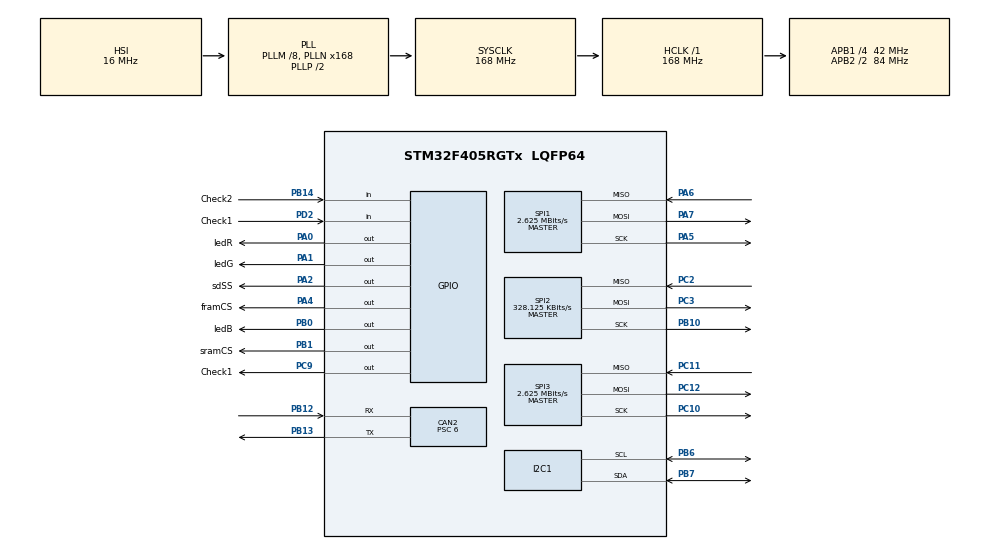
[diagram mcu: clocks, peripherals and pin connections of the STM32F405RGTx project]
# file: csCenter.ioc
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CAN2.BS1=CAN_BS1_11TQ
CAN2.BS2=CAN_BS2_2TQ
CAN2.CalculateBaudRate=500000
CAN2.CalculateTimeBit=2000
CAN2.CalculateTimeQuantum=142.85714285714286
CAN2.Prescaler=6
Mcu.Family=STM32F4
Mcu.Name=STM32F405RGTx
Mcu.Package=LQFP64
NVIC.CAN2_RX0_IRQn=true\:0\:0\:false\:false\:true\:true\:true\:true
NVIC.PriorityGroup=NVIC_PRIORITYGROUP_4
PA0-WKUP.GPIO_Label=ledR
PA0-WKUP.Signal=GPIO_Output
PA1.GPIO_Label=ledG
PA1.Signal=GPIO_Output
PA13.Mode=Serial_Wire
PA13.Signal=SYS_JTMS-SWDIO
PA14.Mode=Serial_Wire
PA14.Signal=SYS_JTCK-SWCLK
PA2.GPIO_Label=sdSS
PA2.Signal=GPIO_Output
PA4.GPIO_Label=framCS
PA4.Signal=GPIO_Output
PA5.Mode=Full_Duplex_Master
PA5.Signal=SPI1_SCK
PA6.Mode=Full_Duplex_Master
PA6.Signal=SPI1_MISO
PA7.Mode=Full_Duplex_Master
PA7.Signal=SPI1_MOSI
PB0.GPIO_Label=ledB
PB0.Signal=GPIO_Output
PB1.GPIO_Label=sramCS
PB1.Signal=GPIO_Output
PB10.GPIO_PuPd=GPIO_PULLUP
PB10.Mode=Full_Duplex_Master
PB10.Signal=SPI2_SCK
PB12.Mode=CAN_Activate
PB12.Signal=CAN2_RX
PB13.Mode=CAN_Activate
PB13.Signal=CAN2_TX
PB14.GPIO_Label=Check2
PB14.Signal=GPIO_Input
PB6.Mode=I2C
PB6.Signal=I2C1_SCL
PB7.Mode=I2C
PB7.Signal=I2C1_SDA
PC10.Mode=Full_Duplex_Master
PC10.Signal=SPI3_SCK
PC11.Mode=Full_Duplex_Master
PC11.Signal=SPI3_MISO
PC12.Mode=Full_Duplex_Master
PC12.Signal=SPI3_MOSI
PC2.GPIO_PuPd=GPIO_PULLUP
PC2.Mode=Full_Duplex_Master
PC2.Signal=SPI2_MISO
PC3.GPIO_PuPd=GPIO_PULLUP
PC3.Mode=Full_Duplex_Master
PC3.Signal=SPI2_MOSI
PC9.GPIO_Label=Check1
PC9.Signal=GPIO_Output
PD2.GPIO_Label=Check1
PD2.Signal=GPIO_Input
PH0-OSC_IN.Mode=HSE-External-Oscillator
PH0-OSC_IN.Signal=RCC_OSC_IN
PH1-OSC_OUT.Mode=HSE-External-Oscillator
PH1-OSC_OUT.Signal=RCC_OSC_OUT
ProjectManager.HeapSize=0x200
ProjectManager.StackSize=0x400
ProjectManager.TargetToolchain=STM32CubeIDE
RCC.48MHZClocksFreq_Value=84000000
RCC.AHBFreq_Value=168000000
RCC.APB1CLKDivider=RCC_HCLK_DIV4
RCC.APB1Freq_Value=42000000
RCC.APB1TimFreq_Value=84000000
RCC.APB2CLKDivider=RCC_HCLK_DIV2
RCC.APB2Freq_Value=84000000
RCC.APB2TimFreq_Value=168000000
RCC.CortexFreq_Value=168000000
RCC.HCLKFreq_Value=168000000
RCC.HSE_VALUE=8000000
RCC.HSI_VALUE=16000000
RCC.LSE_VALUE=32768
RCC.PLLM=8
RCC.PLLN=168
RCC.SYSCLKFreq_VALUE=168000000
RCC.SYSCLKSource=RCC_SYSCLKSOURCE_PLLCLK
RCC.VCOOutputFreq_Value=336000000
RTC.Format=RTC_FORMAT_BIN
SPI1.BaudRatePrescaler=SPI_BAUDRATEPRESCALER_32
SPI1.CalculateBaudRate=2.625 MBits/s
SPI1.Direction=SPI_DIRECTION_2LINES
SPI1.Mode=SPI_MODE_MASTER
SPI1.VirtualType=VM_MASTER
SPI2.BaudRatePrescaler=SPI_BAUDRATEPRESCALER_128
SPI2.CalculateBaudRate=328.125 KBits/s
SPI2.Direction=SPI_DIRECTION_2LINES
SPI2.Mode=SPI_MODE_MASTER
SPI2.VirtualType=VM_MASTER
SPI3.BaudRatePrescaler=SPI_BAUDRATEPRESCALER_16
SPI3.CalculateBaudRate=2.625 MBits/s
SPI3.Direction=SPI_DIRECTION_2LINES
SPI3.Mode=SPI_MODE_MASTER
SPI3.VirtualType=VM_MASTER
VP_FATFS_VS_Generic.Mode=User_defined
VP_RTC_VS_RTC_Activate.Mode=RTC_Enabled
VP_RTC_VS_RTC_Calendar.Mode=RTC_Calendar
board=custom

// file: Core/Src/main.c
/* USER CODE BEGIN Header */
/**
  ******************************************************************************
  * @file           : main.c
  * @brief          : Main program body
  ******************************************************************************
  * @attention
  *
  * Copyright (c) 2026 STMicroelectronics.
  * All rights reserved.
  *
  * This software is licensed under terms that can be found in the LICENSE file
  * in the root directory of this software component.
  * If no LICENSE file comes with this software, it is provided AS-IS.
  *
  ******************************************************************************
  */
/* USER CODE END Header */
#include "main.h"
#include "fatfs.h"

/* USER CODE BEGIN Includes */
#include <string.h>
#include <stdio.h>
#include "w25q32.h"
#include "INA219.h"
#include "sdCard.h"
/* USER CODE END Includes */

/* USER CODE BEGIN PD */
INA219_t ina219;
/* USER CODE END PD */

CAN_HandleTypeDef hcan2;

I2C_HandleTypeDef hi2c1;

RTC_HandleTypeDef hrtc;

SPI_HandleTypeDef hspi1;
SPI_HandleTypeDef hspi2;
SPI_HandleTypeDef hspi3;

/* USER CODE BEGIN PV */
//////////////////Sensor Variables////////////////////
SensorData sensorData;

float pitch, roll, yaw, altitude, pressure, temperature,
	  accX, accY, accZ, latitude, longitude, satelliteCount;
uint8_t rtcHour = 0;
uint8_t rtcMinute = 0;
uint8_t rtcSecond = 0;
uint16_t rtcMs = 0;
volatile float gpsAltitude = 0;

//////////////////CAN Variables////////////////////
volatile float busVoltageFloat = 0;
volatile float currentFloat = 0;

CAN_TxHeaderTypeDef TxHeader;
CAN_RxHeaderTypeDef RxHeader;

uint32_t TxMailbox;

uint8_t TxData[8];
uint8_t RxData[8];

HAL_StatusTypeDef status;

volatile float receivedValue1 = 0;
volatile float receivedValue2 = 0;

/////////////INA219 PV/////////////
uint8_t inaOK = 0;
uint16_t busVoltage;
int16_t current;
/* USER CODE END PV */

void SystemClock_Config(void);
static void MX_GPIO_Init(void);
static void MX_CAN2_Init(void);
static void MX_I2C1_Init(void);
static void MX_RTC_Init(void);
static void MX_SPI1_Init(void);
static void MX_SPI2_Init(void);
static void MX_SPI3_Init(void);
/* USER CODE BEGIN PFP */
void CAN_Filter_Config(void);
void CAN_Send_TwoFloat(float a, float b);
void CAN_Send_Datas(void);
/* USER CODE END PFP */

int main(void)
{

  /* MCU Configuration--------------------------------------------------------*/

  /* Reset of all peripherals, Initializes the Flash interface and the Systick. */
  HAL_Init();

  /* Configure the system clock */
  SystemClock_Config();

  /* Initialize all configured peripherals */
  MX_GPIO_Init();
  MX_CAN2_Init();
  MX_I2C1_Init();
  MX_RTC_Init();
  MX_SPI1_Init();
  MX_SPI2_Init();
  MX_SPI3_Init();
  MX_FATFS_Init();
  /* USER CODE BEGIN 2 */
  ////////////////////////INA219 Init//////////////////////////
  if (INA219_Init(&ina219, &hi2c1, INA219_ADDRESS))
  {
      inaOK = 1;
  } else inaOK = 2;

  INA219_setCalibration_32V_1A(&ina219);

  /////////////////////////CAN Init////////////////////////////
  CAN_Filter_Config();
  HAL_CAN_Start(&hcan2);
  HAL_CAN_ActivateNotification(&hcan2, CAN_IT_RX_FIFO0_MSG_PENDING);

  /////////////////////////Flash Init///////////////////////////
  uint8_t W25Q_Init(void);

  ////////////////////////SD Card Init//////////////////////////
  sdCardOpen();
  /* USER CODE END 2 */

  /* Infinite loop */
  /* USER CODE BEGIN WHILE */
  while (1)
  {
	  busVoltage = INA219_ReadBusVoltage(&ina219);
	  current = INA219_ReadCurrent(&ina219);
	  HAL_Delay(50);
	  CAN_Send_Datas();
	  HAL_Delay(50);
	  W25Q_WritePage(0x000000,(uint8_t*)&sensorData,sizeof(sensorData));
	  HAL_Delay(50);
	  sdCardWrite();
	  HAL_Delay(50);
    /* USER CODE END WHILE */

  }
}

void SystemClock_Config(void)
{
  RCC_OscInitTypeDef RCC_OscInitStruct = {0};
  RCC_ClkInitTypeDef RCC_ClkInitStruct = {0};

  /** Configure the main internal regulator output voltage
  */
  __HAL_RCC_PWR_CLK_ENABLE();
  __HAL_PWR_VOLTAGESCALING_CONFIG(PWR_REGULATOR_VOLTAGE_SCALE1);

  /** Initializes the RCC Oscillators according to the specified parameters
  * in the RCC_OscInitTypeDef structure.
  */
  RCC_OscInitStruct.OscillatorType = RCC_OSCILLATORTYPE_HSI|RCC_OSCILLATORTYPE_LSI;
  RCC_OscInitStruct.HSIState = RCC_HSI_ON;
  RCC_OscInitStruct.HSICalibrationValue = RCC_HSICALIBRATION_DEFAULT;
  RCC_OscInitStruct.LSIState = RCC_LSI_ON;
  RCC_OscInitStruct.PLL.PLLState = RCC_PLL_ON;
  RCC_OscInitStruct.PLL.PLLSource = RCC_PLLSOURCE_HSI;
  RCC_OscInitStruct.PLL.PLLM = 8;
  RCC_OscInitStruct.PLL.PLLN = 168;
  RCC_OscInitStruct.PLL.PLLP = RCC_PLLP_DIV2;
  RCC_OscInitStruct.PLL.PLLQ = 4;
  if (HAL_RCC_OscConfig(&RCC_OscInitStruct) != HAL_OK)
  {
    Error_Handler();
  }

  /** Initializes the CPU, AHB and APB buses clocks
  */
  RCC_ClkInitStruct.ClockType = RCC_CLOCKTYPE_HCLK|RCC_CLOCKTYPE_SYSCLK
                              |RCC_CLOCKTYPE_PCLK1|RCC_CLOCKTYPE_PCLK2;
  RCC_ClkInitStruct.SYSCLKSource = RCC_SYSCLKSOURCE_PLLCLK;
  RCC_ClkInitStruct.AHBCLKDivider = RCC_SYSCLK_DIV1;
  RCC_ClkInitStruct.APB1CLKDivider = RCC_HCLK_DIV4;
  RCC_ClkInitStruct.APB2CLKDivider = RCC_HCLK_DIV2;

  if (HAL_RCC_ClockConfig(&RCC_ClkInitStruct, FLASH_LATENCY_5) != HAL_OK)
  {
    Error_Handler();
  }
}

static void MX_CAN2_Init(void)
{

  hcan2.Instance = CAN2;
  hcan2.Init.Prescaler = 6;
  hcan2.Init.Mode = CAN_MODE_NORMAL;
  hcan2.Init.SyncJumpWidth = CAN_SJW_1TQ;
  hcan2.Init.TimeSeg1 = CAN_BS1_11TQ;
  hcan2.Init.TimeSeg2 = CAN_BS2_2TQ;
  hcan2.Init.TimeTriggeredMode = DISABLE;
  hcan2.Init.AutoBusOff = DISABLE;
  hcan2.Init.AutoWakeUp = DISABLE;
  hcan2.Init.AutoRetransmission = DISABLE;
  hcan2.Init.ReceiveFifoLocked = DISABLE;
  hcan2.Init.TransmitFifoPriority = DISABLE;
  if (HAL_CAN_Init(&hcan2) != HAL_OK)
  {
    Error_Handler();
  }

}

static void MX_I2C1_Init(void)
{

  hi2c1.Instance = I2C1;
  hi2c1.Init.ClockSpeed = 100000;
  hi2c1.Init.DutyCycle = I2C_DUTYCYCLE_2;
  hi2c1.Init.OwnAddress1 = 0;
  hi2c1.Init.AddressingMode = I2C_ADDRESSINGMODE_7BIT;
  hi2c1.Init.DualAddressMode = I2C_DUALADDRESS_DISABLE;
  hi2c1.Init.OwnAddress2 = 0;
  hi2c1.Init.GeneralCallMode = I2C_GENERALCALL_DISABLE;
  hi2c1.Init.NoStretchMode = I2C_NOSTRETCH_DISABLE;
  if (HAL_I2C_Init(&hi2c1) != HAL_OK)
  {
    Error_Handler();
  }

}

static void MX_RTC_Init(void)
{

  RTC_TimeTypeDef sTime = {0};
  RTC_DateTypeDef sDate = {0};

  /** Initialize RTC Only
  */
  hrtc.Instance = RTC;
  hrtc.Init.HourFormat = RTC_HOURFORMAT_24;
  hrtc.Init.AsynchPrediv = 127;
  hrtc.Init.SynchPrediv = 255;
  hrtc.Init.OutPut = RTC_OUTPUT_DISABLE;
  hrtc.Init.OutPutPolarity = RTC_OUTPUT_POLARITY_HIGH;
  hrtc.Init.OutPutType = RTC_OUTPUT_TYPE_OPENDRAIN;
  if (HAL_RTC_Init(&hrtc) != HAL_OK)
  {
    Error_Handler();
  }

  /** Initialize RTC and set the Time and Date
  */
  sTime.Hours = 0;
  sTime.Minutes = 0;
  sTime.Seconds = 0;
  sTime.DayLightSaving = RTC_DAYLIGHTSAVING_NONE;
  sTime.StoreOperation = RTC_STOREOPERATION_RESET;
  if (HAL_RTC_SetTime(&hrtc, &sTime, RTC_FORMAT_BIN) != HAL_OK)
  {
    Error_Handler();
  }
  sDate.WeekDay = RTC_WEEKDAY_MONDAY;
  sDate.Month = RTC_MONTH_JANUARY;
  sDate.Date = 1;
  sDate.Year = 0;

  if (HAL_RTC_SetDate(&hrtc, &sDate, RTC_FORMAT_BIN) != HAL_OK)
  {
    Error_Handler();
  }

}

static void MX_SPI1_Init(void)
{

  /* SPI1 parameter configuration*/
  hspi1.Instance = SPI1;
  hspi1.Init.Mode = SPI_MODE_MASTER;
  hspi1.Init.Direction = SPI_DIRECTION_2LINES;
  hspi1.Init.DataSize = SPI_DATASIZE_8BIT;
  hspi1.Init.CLKPolarity = SPI_POLARITY_LOW;
  hspi1.Init.CLKPhase = SPI_PHASE_1EDGE;
  hspi1.Init.NSS = SPI_NSS_SOFT;
  hspi1.Init.BaudRatePrescaler = SPI_BAUDRATEPRESCALER_32;
  hspi1.Init.FirstBit = SPI_FIRSTBIT_MSB;
  hspi1.Init.TIMode = SPI_TIMODE_DISABLE;
  hspi1.Init.CRCCalculation = SPI_CRCCALCULATION_DISABLE;
  hspi1.Init.CRCPolynomial = 10;
  if (HAL_SPI_Init(&hspi1) != HAL_OK)
  {
    Error_Handler();
  }

}

static void MX_SPI2_Init(void)
{

  /* SPI2 parameter configuration*/
  hspi2.Instance = SPI2;
  hspi2.Init.Mode = SPI_MODE_MASTER;
  hspi2.Init.Direction = SPI_DIRECTION_2LINES;
  hspi2.Init.DataSize = SPI_DATASIZE_8BIT;
  hspi2.Init.CLKPolarity = SPI_POLARITY_LOW;
  hspi2.Init.CLKPhase = SPI_PHASE_1EDGE;
  hspi2.Init.NSS = SPI_NSS_SOFT;
  hspi2.Init.BaudRatePrescaler = SPI_BAUDRATEPRESCALER_128;
  hspi2.Init.FirstBit = SPI_FIRSTBIT_MSB;
  hspi2.Init.TIMode = SPI_TIMODE_DISABLE;
  hspi2.Init.CRCCalculation = SPI_CRCCALCULATION_DISABLE;
  hspi2.Init.CRCPolynomial = 10;
  if (HAL_SPI_Init(&hspi2) != HAL_OK)
  {
    Error_Handler();
  }

}

static void MX_SPI3_Init(void)
{

  /* SPI3 parameter configuration*/
  hspi3.Instance = SPI3;
  hspi3.Init.Mode = SPI_MODE_MASTER;
  hspi3.Init.Direction = SPI_DIRECTION_2LINES;
  hspi3.Init.DataSize = SPI_DATASIZE_8BIT;
  hspi3.Init.CLKPolarity = SPI_POLARITY_LOW;
  hspi3.Init.CLKPhase = SPI_PHASE_1EDGE;
  hspi3.Init.NSS = SPI_NSS_SOFT;
  hspi3.Init.BaudRatePrescaler = SPI_BAUDRATEPRESCALER_16;
  hspi3.Init.FirstBit = SPI_FIRSTBIT_MSB;
  hspi3.Init.TIMode = SPI_TIMODE_DISABLE;
  hspi3.Init.CRCCalculation = SPI_CRCCALCULATION_DISABLE;
  hspi3.Init.CRCPolynomial = 10;
  if (HAL_SPI_Init(&hspi3) != HAL_OK)
  {
    Error_Handler();
  }

}

static void MX_GPIO_Init(void)
{
  GPIO_InitTypeDef GPIO_InitStruct = {0};

  /* GPIO Ports Clock Enable */
  __HAL_RCC_GPIOH_CLK_ENABLE();
  __HAL_RCC_GPIOC_CLK_ENABLE();
  __HAL_RCC_GPIOA_CLK_ENABLE();
  __HAL_RCC_GPIOB_CLK_ENABLE();
  __HAL_RCC_GPIOD_CLK_ENABLE();

  /*Configure GPIO pin Output Level */
  HAL_GPIO_WritePin(GPIOA, ledR_Pin|ledG_Pin|sdSS_Pin|framCS_Pin, GPIO_PIN_RESET);

  /*Configure GPIO pin Output Level */
  HAL_GPIO_WritePin(GPIOB, ledB_Pin|sramCS_Pin, GPIO_PIN_RESET);

  /*Configure GPIO pin Output Level */
  HAL_GPIO_WritePin(Check1_GPIO_Port, Check1_Pin, GPIO_PIN_RESET);

  /*Configure GPIO pins : ledR_Pin ledG_Pin sdSS_Pin framCS_Pin */
  GPIO_InitStruct.Pin = ledR_Pin|ledG_Pin|sdSS_Pin|framCS_Pin;
  GPIO_InitStruct.Mode = GPIO_MODE_OUTPUT_PP;
  GPIO_InitStruct.Pull = GPIO_NOPULL;
  GPIO_InitStruct.Speed = GPIO_SPEED_FREQ_LOW;
  HAL_GPIO_Init(GPIOA, &GPIO_InitStruct);

  /*Configure GPIO pins : ledB_Pin sramCS_Pin */
  GPIO_InitStruct.Pin = ledB_Pin|sramCS_Pin;
  GPIO_InitStruct.Mode = GPIO_MODE_OUTPUT_PP;
  GPIO_InitStruct.Pull = GPIO_NOPULL;
  GPIO_InitStruct.Speed = GPIO_SPEED_FREQ_LOW;
  HAL_GPIO_Init(GPIOB, &GPIO_InitStruct);

  /*Configure GPIO pin : Check2_Pin */
  GPIO_InitStruct.Pin = Check2_Pin;
  GPIO_InitStruct.Mode = GPIO_MODE_INPUT;
  GPIO_InitStruct.Pull = GPIO_NOPULL;
  HAL_GPIO_Init(Check2_GPIO_Port, &GPIO_InitStruct);

  /*Configure GPIO pin : Check1_Pin */
  GPIO_InitStruct.Pin = Check1_Pin;
  GPIO_InitStruct.Mode = GPIO_MODE_OUTPUT_PP;
  GPIO_InitStruct.Pull = GPIO_NOPULL;
  GPIO_InitStruct.Speed = GPIO_SPEED_FREQ_LOW;
  HAL_GPIO_Init(Check1_GPIO_Port, &GPIO_InitStruct);

  /*Configure GPIO pin : Check1D2_Pin */
  GPIO_InitStruct.Pin = Check1D2_Pin;
  GPIO_InitStruct.Mode = GPIO_MODE_INPUT;
  GPIO_InitStruct.Pull = GPIO_NOPULL;
  HAL_GPIO_Init(Check1D2_GPIO_Port, &GPIO_InitStruct);

}

/* USER CODE BEGIN 4 */
void CAN_Parse2Float(uint8_t data[8], float *a, float *b)
{
    memcpy(a, &data[0], 4);
    memcpy(b, &data[4], 4);
}

void HAL_CAN_RxFifo0MsgPendingCallback(CAN_HandleTypeDef *hcan)
{
    CAN_RxHeaderTypeDef rxHeader;
    uint8_t data[8];

    HAL_CAN_GetRxMessage(hcan, CAN_RX_FIFO0, &rxHeader, data);

    float val1, val2;

    switch(rxHeader.StdId)
    {
        case 0x112:
            CAN_Parse2Float(data, &sensorData.yaw, &sensorData.pitch);
            break;

        case 0x113:
        {
            CAN_Parse2Float(data, &sensorData.roll, &val2);

            uint32_t hm = (uint32_t)val2;

            sensorData.rtcHour = hm / 100;
            sensorData.rtcMinute = hm % 100;

            break;
        }

        case 0x114:
            CAN_Parse2Float(data, &sensorData.accX, &sensorData.accY);
            break;

        case 0x115:
        {
            CAN_Parse2Float(data, &sensorData.accZ, &val2);

            uint32_t sm = (uint32_t)val2;

            sensorData.rtcSecond = sm / 1000;
            sensorData.rtcMs = sm % 1000;

            break;
        }

        case 0x122:
            CAN_Parse2Float(data, &sensorData.pressure, &sensorData.temperature);
            break;

        case 0x123:
            CAN_Parse2Float(data, &sensorData.altitude, &val1);
            break;

        case 0x132:
            CAN_Parse2Float(data, &latitude, &longitude);
            break;

        case 0x133:
            CAN_Parse2Float(data, &sensorData.gpsAltitude, &sensorData.satelliteCount);
            break;

        case 0x142:
            CAN_Parse2Float(data,
                            &sensorData.busVoltageFloat,
                            &sensorData.currentFloat);
            break;
    }
}

void CAN_Filter_Config(void)
{
    CAN_FilterTypeDef sFilterConfig;

    sFilterConfig.FilterBank = 14;
    sFilterConfig.SlaveStartFilterBank = 14;

    sFilterConfig.FilterMode = CAN_FILTERMODE_IDMASK;
    sFilterConfig.FilterScale = CAN_FILTERSCALE_32BIT;

    sFilterConfig.FilterIdHigh = 0x0000;
    sFilterConfig.FilterIdLow = 0x0000;

    sFilterConfig.FilterMaskIdHigh = 0x0000;
    sFilterConfig.FilterMaskIdLow = 0x0000;

    sFilterConfig.FilterFIFOAssignment = CAN_FILTER_FIFO0;
    sFilterConfig.FilterActivation = ENABLE;

    HAL_CAN_ConfigFilter(&hcan2, &sFilterConfig);
}

void CAN_Send_Datas(void)
{
    RTC_TimeTypeDef sTime;
    RTC_DateTypeDef sDate;

    HAL_RTC_GetTime(&hrtc, &sTime, RTC_FORMAT_BIN);
    HAL_RTC_GetDate(&hrtc, &sDate, RTC_FORMAT_BIN);

    float timeHourMin =
            (float)(sTime.Hours * 100 + sTime.Minutes);

    float timeSecMs =
            (float)(sTime.Seconds * 1000 + (HAL_GetTick() % 1000));

    while(HAL_CAN_GetTxMailboxesFreeLevel(&hcan2) == 0);
    CAN_Send2Float(0x211, timeHourMin, timeSecMs);

    while(HAL_CAN_GetTxMailboxesFreeLevel(&hcan2) == 0);
    CAN_Send2Float(0x212,
                   (float)busVoltage / 1000.0f,
                   (float)current);
}

void CAN_Send2Float(uint16_t id, float a, float b)
{
    CAN_TxHeaderTypeDef txHeader;
    uint32_t txMailbox;

    uint8_t data[8];

    memcpy(&data[0], &a, 4);
    memcpy(&data[4], &b, 4);

    txHeader.StdId = id;
    txHeader.IDE = CAN_ID_STD;
    txHeader.RTR = CAN_RTR_DATA;
    txHeader.DLC = 8;

    HAL_CAN_AddTxMessage(&hcan2, &txHeader, data, &txMailbox);
}
/* USER CODE END 4 */

void Error_Handler(void)
{
  __disable_irq();
  while (1)
  {
  }
}
